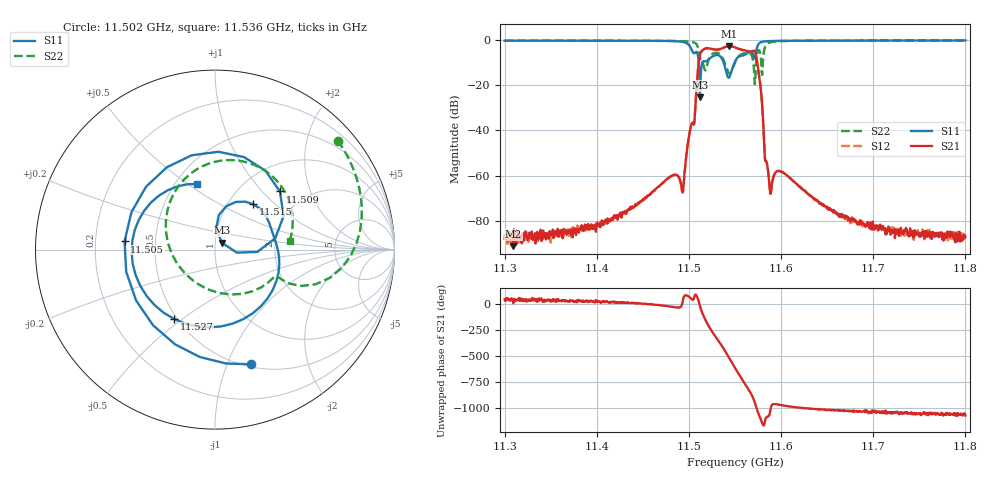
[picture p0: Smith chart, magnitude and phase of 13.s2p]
# Hz S DB R 50
! Planar, S50244, 24171007, 25.4.1/6
! Date: 15.10.2025 10:29:09
! Data: Format (Calibration Info)
! Freq	S11:dB/Ang(F2)	S21:dB/Ang(F2)	S12:dB/Ang(F2)	S22:dB/Ang(F2)
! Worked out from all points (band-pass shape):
!   1001 points, 11.3 GHz to 11.8 GHz, reference 50 ohm
!   highest |S21| = -2.76 dB at 11.544 GHz (marker M1); lowest = -91.2 dB at 11.309 GHz (marker M2)
!   |S21| within 3 dB of the highest: 11.513 GHz to 11.572 GHz (59.52 MHz wide, 0.516 % of centre)
!   lowest |S11| = -25.3 dB at 11.512 GHz (marker M3), VSWR 1.11, Z = 53.8 + j4.13 ohm
!   |S11| at or under -10 dB: 11.5106 GHz to 11.51452 GHz (3.911 MHz wide, 0.034 % of centre); 11.53767 GHz to 11.5495 GHz (11.83 MHz wide, 0.102 % of centre)
!   |S22| runs from -19.6 to -0.2 dB; largest |S21 - S12| = 0.016
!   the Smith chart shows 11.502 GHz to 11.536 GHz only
!   S11 on the Smith chart (normalised r, x): 11.502 GHz: 0.53, -1.22; 11.505 GHz: 0.33, +0.04; 11.509 GHz: 1.49, +1.26; 11.515 GHz: 1.30, +0.74; 11.527 GHz: 0.48, -0.47; 11.536 GHz: 0.63, +0.54
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1.13e10  -0.32 144.7  -87.94 51.0  -87.17 53.3  -0.32 143.1
1.13095e10  -0.32 142.8  -91.22 12.2  -87.86 50.8  -0.31 141.4
1.13835e10  -0.33 125.6  -81.95 31.0  -83.04 36.0  -0.32 126.3
1.1467e10  -0.39 81.4  -64.85 -5.3  -65.06 -6.0  -0.35 93.6
1.1493e10  -0.84 22.4  -67.33 17.8  -67.52 17.9  -0.50 64.8
1.1502e10  -3.49 -72.8  -38.41 59.5  -38.38 61.6  -0.77 41.6
1.15055e10  -5.92 174.8  -37.45 61.3  -37.17 62.0  -1.11 25.5
1.15095e10  -6.28 41.8  -14.76 60.9  -14.70 60.4  -2.92 -8.1
1.1512e10  -25.33 44.9  -6.52 -16.0  -6.45 -16.3  -7.85 -24.1
1.1515e10  -9.61 50.0  -4.52 -92.7  -4.52 -93.5  -10.10 -48.1
1.15205e10  -8.88 -7.3  -3.63 166.9  -3.81 166.9  -9.94 149.2
1.15275e10  -6.96 -120.5  -4.22 67.4  -4.18 68.8  -5.80 75.1
1.1536e10  -8.40 105.5  -3.69 -41.6  -3.58 -42.1  -7.56 6.8
1.1544e10  -16.33 -67.0  -2.76 -161.3  -2.80 -161.5  -14.85 -84.3
1.155e10  -9.55 -161.6  -3.29 106.8  -3.31 106.8  -9.94 -175.6
1.1557e10  -6.99 98.4  -4.26 8.9  -4.31 8.8  -6.33 101.4
1.15635e10  -5.75 -14.3  -4.94 -82.5  -5.02 -81.9  -5.66 27.2
1.15725e10  -6.45 -71.7  -6.22 101.9  -6.24 102.6  -12.43 -10.6
1.15885e10  -0.47 -151.0  -68.11 64.8  -67.95 63.6  -1.03 -111.9
1.16335e10  -0.30 159.0  -69.36 72.7  -69.62 72.0  -0.32 163.3
1.1717e10  -0.24 129.5  -83.54 35.5  -84.20 40.4  -0.24 129.5
1.18e10  -0.22 112.4  -87.10 7.7  -87.94 23.9  -0.21 112.1
